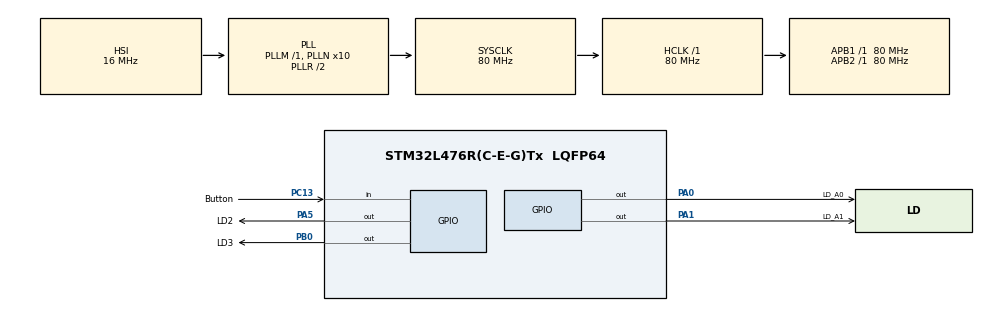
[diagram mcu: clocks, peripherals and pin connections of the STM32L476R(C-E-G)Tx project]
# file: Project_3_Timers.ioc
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Mcu.Family=STM32L4
Mcu.Name=STM32L476R(C-E-G)Tx
Mcu.Package=LQFP64
NVIC.PriorityGroup=NVIC_PRIORITYGROUP_4
NVIC.TIM3_IRQn=true\:10\:0\:true\:false\:true\:true\:true\:true
NVIC.TIM4_IRQn=true\:10\:0\:true\:false\:true\:true\:true\:true
PA0.GPIO_Label=LD_A0
PA0.Signal=GPIO_Output
PA1.GPIO_Label=LD_A1
PA1.Signal=GPIO_Output
PA5.GPIO_Label=LD2
PA5.Signal=GPIO_Output
PB0.GPIO_Label=LD3
PB0.Signal=GPIO_Output
PC13.GPIO_Label=Button
PC13.Signal=GPIO_Input
ProjectManager.HeapSize=0x200
ProjectManager.StackSize=0x400
ProjectManager.TargetToolchain=STM32CubeIDE
RCC.ADCFreq_Value=64000000
RCC.AHBFreq_Value=80000000
RCC.APB1Freq_Value=80000000
RCC.APB1TimFreq_Value=80000000
RCC.APB2Freq_Value=80000000
RCC.APB2TimFreq_Value=80000000
RCC.CortexFreq_Value=80000000
RCC.HCLKFreq_Value=80000000
RCC.HSE_VALUE=8000000
RCC.HSI_VALUE=16000000
RCC.LSE_VALUE=32768
RCC.MSI_VALUE=4000000
RCC.PLLN=10
RCC.PLLSourceVirtual=RCC_PLLSOURCE_HSI
RCC.PREFETCH_ENABLE=1
RCC.SYSCLKFreq_VALUE=80000000
RCC.SYSCLKSource=RCC_SYSCLKSOURCE_PLLCLK
RCC.USBFreq_Value=64000000
RCC.VCOOutputFreq_Value=160000000
TIM3.Channel-Output\ Compare1\ No\ Output=TIM_CHANNEL_1
TIM3.Channel-Output\ Compare2\ No\ Output=TIM_CHANNEL_2
TIM3.Channel-Output\ Compare3\ No\ Output=TIM_CHANNEL_3
TIM3.OCPolarity_1=TIM_OCPOLARITY_HIGH
TIM3.OCPolarity_2=TIM_OCPOLARITY_HIGH
TIM3.OCPolarity_3=TIM_OCPOLARITY_HIGH
TIM3.Period=9999
TIM3.Prescaler=15999
TIM3.Pulse-Output\ Compare1\ No\ Output=5000
TIM3.Pulse-Output\ Compare2\ No\ Output=500
TIM4.Channel-Output\ Compare1\ No\ Output=TIM_CHANNEL_1
TIM4.Period=9999
TIM4.Prescaler=799
TIM4.Pulse-Output\ Compare1\ No\ Output=5000
VP_TIM3_VS_ClockSourceINT.Mode=Internal
VP_TIM3_VS_no_output1.Mode=Output Compare1 No Output
VP_TIM3_VS_no_output2.Mode=Output Compare2 No Output
VP_TIM3_VS_no_output3.Mode=Output Compare3 No Output
VP_TIM4_VS_no_output1.Mode=Output Compare1 No Output
board=NUCLEO-L476RG

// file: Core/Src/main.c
/* USER CODE BEGIN Header */
/**
  ******************************************************************************
  * @file           : main.c
  * @brief          : Main program body
  ******************************************************************************
  * @attention
  *
  * Copyright (c) 2024 STMicroelectronics.
  * All rights reserved.
  *
  * This software is licensed under terms that can be found in the LICENSE file
  * in the root directory of this software component.
  * If no LICENSE file comes with this software, it is provided AS-IS.
  *
  ******************************************************************************
  */
/* USER CODE END Header */
#include "main.h"

/* USER CODE BEGIN Includes */
#include "math.h"
/* USER CODE END Includes */

TIM_HandleTypeDef htim3;
TIM_HandleTypeDef htim4;

void SystemClock_Config(void);
static void MX_GPIO_Init(void);
static void MX_TIM3_Init(void);
static void MX_TIM4_Init(void);

/* USER CODE BEGIN 0 */

void HAL_TIM_PeriodElapsedCallback(TIM_HandleTypeDef *htim)
{
  if (htim == &htim3) {
    HAL_GPIO_WritePin(LD_A0_GPIO_Port, LD_A0_Pin, GPIO_PIN_SET);
  }
  if (htim == &htim4) {
      HAL_GPIO_WritePin(LD3_GPIO_Port, LD3_Pin, GPIO_PIN_SET);
    }
}

void HAL_TIM_OC_DelayElapsedCallback(TIM_HandleTypeDef *htim)
{
  if (htim == &htim3) {
    switch (HAL_TIM_GetActiveChannel(&htim3)) {
    case HAL_TIM_ACTIVE_CHANNEL_1:
      HAL_GPIO_WritePin(LD_A0_GPIO_Port, LD_A0_Pin, GPIO_PIN_RESET);
      break;
    default:
      break;
    }
  }
  if (htim == &htim4) {
	  if (HAL_TIM_GetActiveChannel(&htim4) == HAL_TIM_ACTIVE_CHANNEL_1){
        HAL_GPIO_WritePin(LD3_GPIO_Port, LD3_Pin, GPIO_PIN_RESET);
	  }
  }
}
/* USER CODE END 0 */

int main(void)
{

  /* MCU Configuration--------------------------------------------------------*/

  /* Reset of all peripherals, Initializes the Flash interface and the Systick. */
  HAL_Init();

  /* Configure the system clock */
  SystemClock_Config();

  /* Initialize all configured peripherals */
  MX_GPIO_Init();
  MX_TIM3_Init();
  MX_TIM4_Init();
  /* USER CODE BEGIN 2 */
  HAL_TIM_Base_Start_IT(&htim3);
  HAL_TIM_Base_Start_IT(&htim4);
  HAL_TIM_OC_Start_IT(&htim3, TIM_CHANNEL_1);
  HAL_TIM_OC_Start_IT(&htim4, TIM_CHANNEL_1);

  /* USER CODE END 2 */

  /* Infinite loop */
  while (1)
  {

  }
}

void SystemClock_Config(void)
{
  RCC_OscInitTypeDef RCC_OscInitStruct = {0};
  RCC_ClkInitTypeDef RCC_ClkInitStruct = {0};

  /** Configure the main internal regulator output voltage
  */
  if (HAL_PWREx_ControlVoltageScaling(PWR_REGULATOR_VOLTAGE_SCALE1) != HAL_OK)
  {
    Error_Handler();
  }

  /** Initializes the RCC Oscillators according to the specified parameters
  * in the RCC_OscInitTypeDef structure.
  */
  RCC_OscInitStruct.OscillatorType = RCC_OSCILLATORTYPE_HSI;
  RCC_OscInitStruct.HSIState = RCC_HSI_ON;
  RCC_OscInitStruct.HSICalibrationValue = RCC_HSICALIBRATION_DEFAULT;
  RCC_OscInitStruct.PLL.PLLState = RCC_PLL_ON;
  RCC_OscInitStruct.PLL.PLLSource = RCC_PLLSOURCE_HSI;
  RCC_OscInitStruct.PLL.PLLM = 1;
  RCC_OscInitStruct.PLL.PLLN = 10;
  RCC_OscInitStruct.PLL.PLLP = RCC_PLLP_DIV7;
  RCC_OscInitStruct.PLL.PLLQ = RCC_PLLQ_DIV2;
  RCC_OscInitStruct.PLL.PLLR = RCC_PLLR_DIV2;
  if (HAL_RCC_OscConfig(&RCC_OscInitStruct) != HAL_OK)
  {
    Error_Handler();
  }

  /** Initializes the CPU, AHB and APB buses clocks
  */
  RCC_ClkInitStruct.ClockType = RCC_CLOCKTYPE_HCLK|RCC_CLOCKTYPE_SYSCLK
                              |RCC_CLOCKTYPE_PCLK1|RCC_CLOCKTYPE_PCLK2;
  RCC_ClkInitStruct.SYSCLKSource = RCC_SYSCLKSOURCE_PLLCLK;
  RCC_ClkInitStruct.AHBCLKDivider = RCC_SYSCLK_DIV1;
  RCC_ClkInitStruct.APB1CLKDivider = RCC_HCLK_DIV1;
  RCC_ClkInitStruct.APB2CLKDivider = RCC_HCLK_DIV1;

  if (HAL_RCC_ClockConfig(&RCC_ClkInitStruct, FLASH_LATENCY_4) != HAL_OK)
  {
    Error_Handler();
  }
}

static void MX_TIM3_Init(void)
{

  TIM_ClockConfigTypeDef sClockSourceConfig = {0};
  TIM_MasterConfigTypeDef sMasterConfig = {0};
  TIM_OC_InitTypeDef sConfigOC = {0};

  htim3.Instance = TIM3;
  htim3.Init.Prescaler = 15999;
  htim3.Init.CounterMode = TIM_COUNTERMODE_UP;
  htim3.Init.Period = 9999;
  htim3.Init.ClockDivision = TIM_CLOCKDIVISION_DIV1;
  htim3.Init.AutoReloadPreload = TIM_AUTORELOAD_PRELOAD_DISABLE;
  if (HAL_TIM_Base_Init(&htim3) != HAL_OK)
  {
    Error_Handler();
  }
  sClockSourceConfig.ClockSource = TIM_CLOCKSOURCE_INTERNAL;
  if (HAL_TIM_ConfigClockSource(&htim3, &sClockSourceConfig) != HAL_OK)
  {
    Error_Handler();
  }
  if (HAL_TIM_OC_Init(&htim3) != HAL_OK)
  {
    Error_Handler();
  }
  sMasterConfig.MasterOutputTrigger = TIM_TRGO_RESET;
  sMasterConfig.MasterSlaveMode = TIM_MASTERSLAVEMODE_DISABLE;
  if (HAL_TIMEx_MasterConfigSynchronization(&htim3, &sMasterConfig) != HAL_OK)
  {
    Error_Handler();
  }
  sConfigOC.OCMode = TIM_OCMODE_TIMING;
  sConfigOC.Pulse = 5000;
  sConfigOC.OCPolarity = TIM_OCPOLARITY_HIGH;
  sConfigOC.OCFastMode = TIM_OCFAST_DISABLE;
  if (HAL_TIM_OC_ConfigChannel(&htim3, &sConfigOC, TIM_CHANNEL_1) != HAL_OK)
  {
    Error_Handler();
  }
  sConfigOC.Pulse = 500;
  if (HAL_TIM_OC_ConfigChannel(&htim3, &sConfigOC, TIM_CHANNEL_2) != HAL_OK)
  {
    Error_Handler();
  }
  sConfigOC.Pulse = 0;
  if (HAL_TIM_OC_ConfigChannel(&htim3, &sConfigOC, TIM_CHANNEL_3) != HAL_OK)
  {
    Error_Handler();
  }

}

static void MX_TIM4_Init(void)
{

  TIM_MasterConfigTypeDef sMasterConfig = {0};
  TIM_OC_InitTypeDef sConfigOC = {0};

  htim4.Instance = TIM4;
  htim4.Init.Prescaler = 799;
  htim4.Init.CounterMode = TIM_COUNTERMODE_UP;
  htim4.Init.Period = 9999;
  htim4.Init.ClockDivision = TIM_CLOCKDIVISION_DIV1;
  htim4.Init.AutoReloadPreload = TIM_AUTORELOAD_PRELOAD_DISABLE;
  if (HAL_TIM_OC_Init(&htim4) != HAL_OK)
  {
    Error_Handler();
  }
  sMasterConfig.MasterOutputTrigger = TIM_TRGO_RESET;
  sMasterConfig.MasterSlaveMode = TIM_MASTERSLAVEMODE_DISABLE;
  if (HAL_TIMEx_MasterConfigSynchronization(&htim4, &sMasterConfig) != HAL_OK)
  {
    Error_Handler();
  }
  sConfigOC.OCMode = TIM_OCMODE_TIMING;
  sConfigOC.Pulse = 5000;
  sConfigOC.OCPolarity = TIM_OCPOLARITY_HIGH;
  sConfigOC.OCFastMode = TIM_OCFAST_DISABLE;
  if (HAL_TIM_OC_ConfigChannel(&htim4, &sConfigOC, TIM_CHANNEL_1) != HAL_OK)
  {
    Error_Handler();
  }

}

static void MX_GPIO_Init(void)
{
  GPIO_InitTypeDef GPIO_InitStruct = {0};

  /* GPIO Ports Clock Enable */
  __HAL_RCC_GPIOC_CLK_ENABLE();
  __HAL_RCC_GPIOA_CLK_ENABLE();
  __HAL_RCC_GPIOB_CLK_ENABLE();

  /*Configure GPIO pin Output Level */
  HAL_GPIO_WritePin(GPIOA, LD_A0_Pin|LD_A1_Pin|LD2_Pin, GPIO_PIN_RESET);

  /*Configure GPIO pin Output Level */
  HAL_GPIO_WritePin(LD3_GPIO_Port, LD3_Pin, GPIO_PIN_RESET);

  /*Configure GPIO pin : Button_Pin */
  GPIO_InitStruct.Pin = Button_Pin;
  GPIO_InitStruct.Mode = GPIO_MODE_INPUT;
  GPIO_InitStruct.Pull = GPIO_NOPULL;
  HAL_GPIO_Init(Button_GPIO_Port, &GPIO_InitStruct);

  /*Configure GPIO pins : LD_A0_Pin LD_A1_Pin LD2_Pin */
  GPIO_InitStruct.Pin = LD_A0_Pin|LD_A1_Pin|LD2_Pin;
  GPIO_InitStruct.Mode = GPIO_MODE_OUTPUT_PP;
  GPIO_InitStruct.Pull = GPIO_NOPULL;
  GPIO_InitStruct.Speed = GPIO_SPEED_FREQ_LOW;
  HAL_GPIO_Init(GPIOA, &GPIO_InitStruct);

  /*Configure GPIO pin : LD3_Pin */
  GPIO_InitStruct.Pin = LD3_Pin;
  GPIO_InitStruct.Mode = GPIO_MODE_OUTPUT_PP;
  GPIO_InitStruct.Pull = GPIO_NOPULL;
  GPIO_InitStruct.Speed = GPIO_SPEED_FREQ_LOW;
  HAL_GPIO_Init(LD3_GPIO_Port, &GPIO_InitStruct);

}

void Error_Handler(void)
{
  __disable_irq();
  while (1)
  {
  }
}
